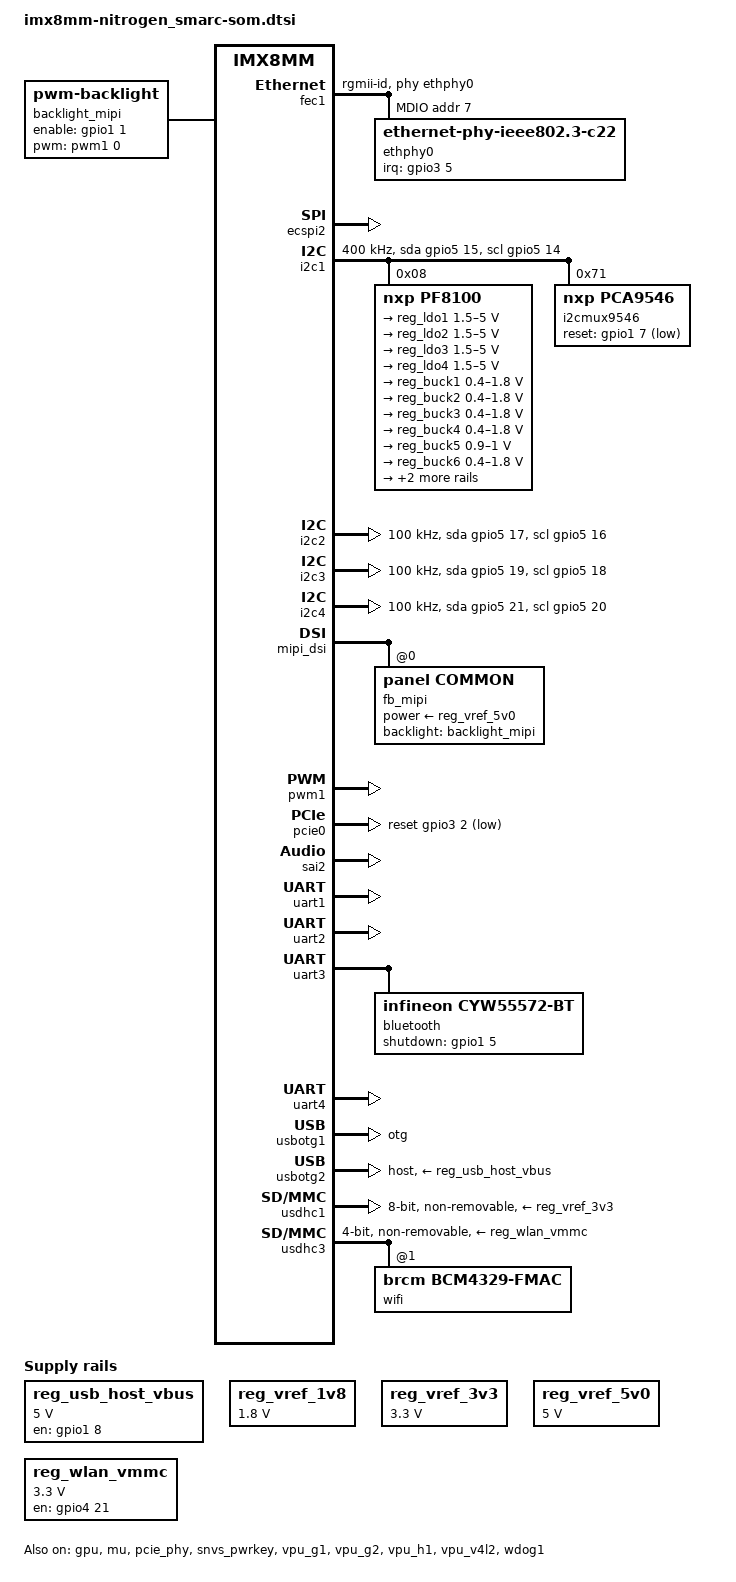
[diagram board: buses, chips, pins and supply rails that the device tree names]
// SPDX-License-Identifier: (GPL-2.0+ OR MIT)
/*
 * Copyright 2023 Boundary Devices
 */

#include <dt-bindings/phy/phy-imx8-pcie.h>
#include <dt-bindings/usb/pd.h>

/ {
	backlight_mipi: backlight-mipi {
		brightness-levels = <0 1 2 3 4 5 6 7 8 9 10>;
		compatible = "pwm-backlight";
		pinctrl-names = "default";
		pinctrl-0 = <&pinctrl_lvds0_backlight>;
		default-brightness-level = <8>;
		display = <&display_subsystem>;
		pwms = <&pwm1 0 32000 0>;
		enable-gpios = <&gpio1 1 GPIO_ACTIVE_HIGH>;
		status = "okay";
	};

	reg_usb_host_vbus: regulator-usb-host-vbus {
		compatible = "regulator-fixed";
		pinctrl-names = "default";
		pinctrl-0 = <&pinctrl_reg_usbhost_vbus>;
		regulator-name = "usb_host_vbus";
		regulator-min-microvolt = <5000000>;
		regulator-max-microvolt = <5000000>;
		gpio = <&gpio1 8 GPIO_ACTIVE_HIGH>;
		enable-active-high;
	};

	reg_vref_1v8: regulator-vref-1v8 {
		compatible = "regulator-fixed";
		regulator-name = "vref-1v8";
		regulator-min-microvolt = <1800000>;
		regulator-max-microvolt = <1800000>;
	};

	reg_vref_3v3: regulator-vref-3v3 {
		compatible = "regulator-fixed";
		regulator-name = "vref-3v3";
		regulator-min-microvolt = <3300000>;
		regulator-max-microvolt = <3300000>;
	};

	reg_vref_5v0: regulator-vref-5v0 {
		compatible = "regulator-fixed";
		regulator-name = "vref-5v0";
		regulator-min-microvolt = <5000000>;
		regulator-max-microvolt = <5000000>;
	};

	reg_wlan_vmmc: regulator-wlan-vmmc {
		compatible = "regulator-fixed";
		pinctrl-names = "default";
		pinctrl-0 = <&pinctrl_reg_wlan_vmmc>;
		regulator-name = "reg_wlan_vmmc";
		regulator-min-microvolt = <3300000>;
		regulator-max-microvolt = <3300000>;
		gpio = <&gpio4 21 GPIO_ACTIVE_HIGH>;
		startup-delay-us = <70000>;
		enable-active-high;
	};

	reserved-memory {
		linux,cma {
			size = <0 0x20000000>;
		};
	};
};

&A53_0 {
	cpu-supply = <&reg_buck3>;
};

&fec1 {
	pinctrl-names = "default";
	pinctrl-0 = <&pinctrl_fec1>;
#if 0
	phy-reset-gpios = <&gpio3 15 GPIO_ACTIVE_LOW>;
#endif
	phy-mode = "rgmii-id";
	phy-handle = <&ethphy0>;
	fsl,magic-packet;
	status = "okay";

	mdio {
		#address-cells = <1>;
		#size-cells = <0>;

		ethphy0: ethernet-phy@7 {
			compatible = "ethernet-phy-ieee802.3-c22";
			interrupts-extended = <&gpio3 5 IRQ_TYPE_LEVEL_LOW>;
			reg = <7>;
			rxc-skew-ps = <3000>;
			rxd0-skew-ps = <0>;
			rxd1-skew-ps = <0>;
			rxd2-skew-ps = <0>;
			rxd3-skew-ps = <0>;
			rxdv-skew-ps = <0>;
			txc-skew-ps = <3000>;
			txd0-skew-ps = <0>;
			txd1-skew-ps = <0>;
			txd2-skew-ps = <0>;
			txd3-skew-ps = <0>;
			txen-skew-ps = <0>;
		};
	};
};

&gpu {
	status = "okay";
};

&ecspi2 {
	#address-cells = <1>;
	#size-cells = <0>;
	pinctrl-names = "default";
	pinctrl-0 = <&pinctrl_ecspi2>;
	cs-gpios = <&gpio5 13 GPIO_ACTIVE_LOW>, <&gpio5 3 GPIO_ACTIVE_LOW>;
	status = "okay";
};

&flexspi {
	#address-cells = <1>;
	#size-cells = <0>;
	pinctrl-names = "default";
	pinctrl-0 = <&pinctrl_flexspi>;
	cs-gpios = <&gpio3 1 GPIO_ACTIVE_LOW>, <&gpio1 6 GPIO_ACTIVE_LOW>;
	status = "disabled";
};

&i2c1 {
	clock-frequency = <400000>;
	pinctrl-names = "default", "gpio";
	pinctrl-0 = <&pinctrl_i2c1>;
	pinctrl-1 = <&pinctrl_i2c1_1>;
	scl-gpios = <&gpio5 14 GPIO_OPEN_DRAIN>;
	sda-gpios = <&gpio5 15 GPIO_OPEN_DRAIN>;
	status = "okay";

	pf8100@8 {
		compatible = "nxp,pf8100";
		pinctrl-names = "default";
		pinctrl-0 = <&pinctrl_i2c1_pf8100>;
		reg = <0x08>;

		regulators {
			reg_ldo1: ldo1 {
				regulator-always-on;
				regulator-boot-on;
				regulator-max-microvolt = <5000000>;
				regulator-min-microvolt = <1500000>;
			};

			reg_ldo2: ldo2 {
				regulator-always-on;
				regulator-boot-on;
				regulator-max-microvolt = <5000000>;
				regulator-min-microvolt = <1500000>;
				/* vselect low is 3.3V, high is 1.8V */
				vselect-en;
			};

			reg_ldo3: ldo3 {
				regulator-boot-on;
				regulator-max-microvolt = <5000000>;
				regulator-min-microvolt = <1500000>;
			};

			reg_ldo4: ldo4 {
				regulator-always-on;
				regulator-boot-on;
				regulator-max-microvolt = <5000000>;
				regulator-min-microvolt = <1500000>;
			};

			reg_buck1: buck1 {
				nxp,phase-shift = <0>;
				regulator-max-microamp = <4500000>;
				regulator-always-on;
				regulator-boot-on;
				regulator-max-microvolt = <1800000>;
				regulator-min-microvolt =  <400000>;
			};

			reg_buck2: buck2 {
				regulator-always-on;
				regulator-boot-on;
				regulator-max-microvolt = <1800000>;
				regulator-min-microvolt =  <400000>;
			};

			reg_buck3: buck3 {
				regulator-always-on;
				regulator-boot-on;
				regulator-max-microvolt = <1800000>;
				regulator-min-microvolt =  <400000>;
				fast-slew = <1>;
			};

			reg_buck4: buck4 {
				regulator-boot-on;
				regulator-max-microvolt = <1800000>;
				regulator-min-microvolt =  <400000>;
				fast-slew = <1>;
			};

			reg_buck5: buck5 {
				regulator-always-on;
				regulator-boot-on;
				regulator-max-microvolt = <1000000>;
				regulator-min-microvolt =  <900000>;
			};

			reg_buck6: buck6 {
				regulator-always-on;
				regulator-boot-on;
				regulator-max-microvolt = <1800000>;
				regulator-min-microvolt =  <400000>;
			};

			reg_buck7: buck7 {
				regulator-always-on;
				regulator-boot-on;
				regulator-max-microvolt = <4100000>;
				regulator-min-microvolt = <1000000>;
			};

			reg_vsnvs: vsnvs {
				regulator-always-on;
				regulator-boot-on;
				regulator-max-microvolt = <3300000>;
				regulator-min-microvolt = <1800000>;
			};
		};
	};

	i2cmux9546@71 {
		pinctrl-names = "default";
		pinctrl-0 = <&pinctrl_i2c1_pca9546>;
		compatible = "nxp,pca9546";
		reg = <0x71>;
		reset-gpios = <&gpio1 7 GPIO_ACTIVE_LOW>;
		#address-cells = <1>;
		#size-cells = <0>;

		i2c1a: i2c1@0 {
			/* I2C_CSI0 */
			clock-frequency = <100000>;
			reg = <0>;
			#address-cells = <1>;
			#size-cells = <0>;
		};

		i2c1b: i2c1@1 {
			/* I2C_LCD */
			clock-frequency = <100000>;
			reg = <1>;
			#address-cells = <1>;
			#size-cells = <0>;
		};

		i2c1c: i2c1@2 {
			clock-frequency = <100000>;
			reg = <2>;
			#address-cells = <1>;
			#size-cells = <0>;
		};
	};
};

/* I2C_CAM1 */
&i2c2 {
	clock-frequency = <100000>;
	pinctrl-names = "default", "gpio";
	pinctrl-0 = <&pinctrl_i2c2>;
	pinctrl-1 = <&pinctrl_i2c2_1>;
	scl-gpios = <&gpio5 16 GPIO_OPEN_DRAIN>;
	sda-gpios = <&gpio5 17 GPIO_OPEN_DRAIN>;
	status = "okay";
};

/* I2C_GP */
&i2c3 {
	clock-frequency = <100000>;
	pinctrl-names = "default", "gpio";
	pinctrl-0 = <&pinctrl_i2c3>;
	pinctrl-1 = <&pinctrl_i2c3_1>;
	scl-gpios = <&gpio5 18 GPIO_OPEN_DRAIN>;
	sda-gpios = <&gpio5 19 GPIO_OPEN_DRAIN>;
	status = "okay";
};

/* I2C_PM */
&i2c4 {
	clock-frequency = <100000>;
	pinctrl-names = "default", "gpio";
	pinctrl-0 = <&pinctrl_i2c4>;
	pinctrl-1 = <&pinctrl_i2c4_1>;
	scl-gpios = <&gpio5 20 GPIO_OPEN_DRAIN>;
	sda-gpios = <&gpio5 21 GPIO_OPEN_DRAIN>;
	status = "okay";
};

&iomuxc {
	pinctrl_ecspi2: ecspi2grp {
		fsl,pins = <
			MX8MM_IOMUXC_SPDIF_TX_GPIO5_IO3		0x140
			MX8MM_IOMUXC_ECSPI2_SS0_GPIO5_IO13	0x140
			MX8MM_IOMUXC_ECSPI2_MISO_ECSPI2_MISO	0x82
			MX8MM_IOMUXC_ECSPI2_SCLK_ECSPI2_SCLK	0x82
			MX8MM_IOMUXC_ECSPI2_MOSI_ECSPI2_MOSI	0x82
		>;
	};

	pinctrl_fec1: fec1grp {
		fsl,pins = <
			MX8MM_IOMUXC_ENET_MDC_ENET1_MDC		0x00
			MX8MM_IOMUXC_ENET_MDIO_ENET1_MDIO	0x00
			MX8MM_IOMUXC_ENET_RD0_ENET1_RGMII_RD0	0x91
			MX8MM_IOMUXC_ENET_RD1_ENET1_RGMII_RD1	0x91
			MX8MM_IOMUXC_ENET_RD2_ENET1_RGMII_RD2	0x91
			MX8MM_IOMUXC_ENET_RD3_ENET1_RGMII_RD3	0x91
			MX8MM_IOMUXC_ENET_RXC_ENET1_RGMII_RXC	0x91
			MX8MM_IOMUXC_ENET_RX_CTL_ENET1_RGMII_RX_CTL	0x91
			MX8MM_IOMUXC_ENET_TD0_ENET1_RGMII_TD0	0x10
			MX8MM_IOMUXC_ENET_TD1_ENET1_RGMII_TD1	0x10
			MX8MM_IOMUXC_ENET_TD2_ENET1_RGMII_TD2	0x10
			MX8MM_IOMUXC_ENET_TD3_ENET1_RGMII_TD3	0x10
			MX8MM_IOMUXC_ENET_TXC_ENET1_RGMII_TXC	0x12
			MX8MM_IOMUXC_ENET_TX_CTL_ENET1_RGMII_TX_CTL	0x10
			MX8MM_IOMUXC_NAND_RE_B_GPIO3_IO15	0x159
			MX8MM_IOMUXC_NAND_CLE_GPIO3_IO5		0x1c0
		>;
	};

	pinctrl_flexspi: flexspigrp {
		fsl,pins = <
			MX8MM_IOMUXC_GPIO1_IO06_GPIO1_IO6	0x140
			MX8MM_IOMUXC_NAND_CE0_B_GPIO3_IO1	0x140
			MX8MM_IOMUXC_NAND_DATA00_QSPI_A_DATA0	0x82
			MX8MM_IOMUXC_NAND_DATA01_QSPI_A_DATA1	0x82
			MX8MM_IOMUXC_NAND_DATA02_QSPI_A_DATA2	0x82
			MX8MM_IOMUXC_NAND_DATA03_QSPI_A_DATA3	0x82
			MX8MM_IOMUXC_NAND_ALE_QSPI_A_SCLK	0x82
			MX8MM_IOMUXC_NAND_DATA02_QSPI_A_DATA2	0x82
		>;
	};

	pinctrl_i2c1: i2c1grp {
		fsl,pins = <
			MX8MM_IOMUXC_I2C1_SCL_I2C1_SCL	0x400001c3
			MX8MM_IOMUXC_I2C1_SDA_I2C1_SDA	0x400001c3
		>;
	};

	pinctrl_i2c1_1: i2c1-1grp {
		fsl,pins = <
			MX8MM_IOMUXC_I2C1_SCL_GPIO5_IO14	0x1c3
			MX8MM_IOMUXC_I2C1_SDA_GPIO5_IO15	0x1c3
		>;
	};

	pinctrl_i2c1_pf8100: i2c1-pf8100grp {
		fsl,pins = <
			MX8MM_IOMUXC_NAND_CE2_B_GPIO3_IO3	0x149
			MX8MM_IOMUXC_NAND_CE3_B_GPIO3_IO4	0x149
		>;
	};

	pinctrl_i2c1_pca9546: i2c1-pca9546grp {
		fsl,pins = <
			MX8MM_IOMUXC_GPIO1_IO07_GPIO1_IO7	0x100
		>;
	};

	pinctrl_i2c2: i2c2grp {
		fsl,pins = <
			MX8MM_IOMUXC_I2C2_SCL_I2C2_SCL		0x400001c3
			MX8MM_IOMUXC_I2C2_SDA_I2C2_SDA		0x400001c3
		>;
	};

	pinctrl_i2c2_1: i2c2-1grp {
		fsl,pins = <
			MX8MM_IOMUXC_I2C2_SCL_GPIO5_IO16	0x400001c3
			MX8MM_IOMUXC_I2C2_SDA_GPIO5_IO17	0x400001c3
		>;
	};

	pinctrl_i2c3: i2c3grp {
		fsl,pins = <
			MX8MM_IOMUXC_I2C3_SCL_I2C3_SCL		0x400001c3
			MX8MM_IOMUXC_I2C3_SDA_I2C3_SDA		0x400001c3
		>;
	};

	pinctrl_i2c3_1: i2c3-1grp {
		fsl,pins = <
			MX8MM_IOMUXC_I2C3_SCL_GPIO5_IO18	0x400001c3
			MX8MM_IOMUXC_I2C3_SDA_GPIO5_IO19	0x400001c3
		>;
	};

	pinctrl_i2c4: i2c4grp {
		fsl,pins = <
			MX8MM_IOMUXC_I2C4_SCL_I2C4_SCL		0x400001c3
			MX8MM_IOMUXC_I2C4_SDA_I2C4_SDA		0x400001c3
		>;
	};

	pinctrl_i2c4_1: i2c4-1grp {
		fsl,pins = <
			MX8MM_IOMUXC_I2C4_SCL_GPIO5_IO20	0x400001c3
			MX8MM_IOMUXC_I2C4_SDA_GPIO5_IO21	0x400001c3
		>;
	};

	pinctrl_lvds0_backlight: pinctrl-lvds0-backlight-grp {
		fsl,pins = <
			MX8MM_IOMUXC_GPIO1_IO01_GPIO1_IO1	0x140
		>;
	};

	pinctrl_mipi_sn65dsi83_alt: mipi-sn65dsi83-altgrp {
		fsl,pins = <
			MX8MM_IOMUXC_SAI5_RXC_GPIO3_IO20	0x180
			MX8MM_IOMUXC_SAI5_MCLK_GPIO3_IO25	0x100
		>;
	};

	pinctrl_pcie0: pcie0grp {
		fsl,pins = <
			MX8MM_IOMUXC_NAND_CE1_B_GPIO3_IO2	0x100
			MX8MM_IOMUXC_SAI1_MCLK_GPIO4_IO20	0x140
			MX8MM_IOMUXC_SAI3_RXC_GPIO4_IO29	0x140
		>;
	};

	pinctrl_pwm1: pwm1grp {
		fsl,pins = <
			MX8MM_IOMUXC_SPDIF_EXT_CLK_PWM1_OUT	0x16
		>;
	};

	pinctrl_reg_usbhost_vbus: usbhost-vbusgrp {
		fsl,pins = <
			MX8MM_IOMUXC_GPIO1_IO08_GPIO1_IO8	0x140
		>;
	};

	pinctrl_reg_wlan_vmmc: reg-wlan-vmmcgrp {
		fsl,pins = <
			MX8MM_IOMUXC_SAI2_RXFS_GPIO4_IO21	0x100
			/* Bluetooth slow clock */
			MX8MM_IOMUXC_GPIO1_IO00_ANAMIX_REF_CLK_32K	0x03
		>;
	};

	pinctrl_sai1: sai1grp {
		fsl,pins = <
			MX8MM_IOMUXC_SAI1_TXFS_SAI1_TX_SYNC	0xd6
			MX8MM_IOMUXC_SAI1_TXC_SAI1_TX_BCLK	0xd6
			MX8MM_IOMUXC_SAI1_TXD0_SAI1_TX_DATA0	0xd6
			MX8MM_IOMUXC_SAI1_RXD0_SAI1_RX_DATA0	0xd6
		>;
	};

	pinctrl_sai2: sai2grp {
		fsl,pins = <
			MX8MM_IOMUXC_SAI2_MCLK_SAI2_MCLK	0xd6
			MX8MM_IOMUXC_SAI2_TXFS_SAI2_TX_SYNC	0xd6
			MX8MM_IOMUXC_SAI2_TXC_SAI2_TX_BCLK	0xd6
			MX8MM_IOMUXC_SAI2_TXD0_SAI2_TX_DATA0	0xd6
			MX8MM_IOMUXC_SAI2_RXD0_SAI2_RX_DATA0	0xd6
		>;
	};

	pinctrl_sai3: sai3grp {
		fsl,pins = <
			MX8MM_IOMUXC_SAI3_TXFS_SAI3_TX_SYNC	0xd6
			MX8MM_IOMUXC_SAI3_TXC_SAI3_TX_BCLK	0xd6
			MX8MM_IOMUXC_SAI3_TXD_SAI3_TX_DATA0	0xd6
			MX8MM_IOMUXC_SAI3_RXD_SAI3_RX_DATA0	0xd6
		>;
	};

	pinctrl_uart1: uart1grp {
		fsl,pins = <
			MX8MM_IOMUXC_UART1_RXD_UART1_DCE_RX	0x140
			MX8MM_IOMUXC_UART1_TXD_UART1_DCE_TX	0x140
			MX8MM_IOMUXC_UART3_RXD_UART1_DCE_CTS_B	0x140
			MX8MM_IOMUXC_UART3_TXD_UART1_DCE_RTS_B	0x140
		>;
	};

	pinctrl_uart2: uart2grp {
		fsl,pins = <
			MX8MM_IOMUXC_UART2_RXD_UART2_DCE_RX	0x140
			MX8MM_IOMUXC_UART2_TXD_UART2_DCE_TX	0x140
		>;
	};

	pinctrl_uart3: uart3grp {
		fsl,pins = <
			MX8MM_IOMUXC_ECSPI1_SCLK_UART3_DCE_RX	0x140
			MX8MM_IOMUXC_ECSPI1_MOSI_UART3_DCE_TX	0x140
			MX8MM_IOMUXC_ECSPI1_SS0_UART3_DCE_RTS_B	0x140
			MX8MM_IOMUXC_ECSPI1_MISO_UART3_DCE_CTS_B	0x140
			MX8MM_IOMUXC_GPIO1_IO05_GPIO1_IO5	0x100
			MX8MM_IOMUXC_NAND_DQS_GPIO3_IO14	0x1c0
		>;
	};

	pinctrl_uart4: uart4grp {
		fsl,pins = <
			MX8MM_IOMUXC_UART4_RXD_UART4_DCE_RX	0x140
			MX8MM_IOMUXC_UART4_TXD_UART4_DCE_TX	0x140
		>;
	};

	pinctrl_usdhc1: usdhc1grp {
		fsl,pins = <
			MX8MM_IOMUXC_SD1_CLK_USDHC1_CLK		0x10
			MX8MM_IOMUXC_SD1_CMD_USDHC1_CMD		0x150
			MX8MM_IOMUXC_SD1_DATA0_USDHC1_DATA0	0x150
			MX8MM_IOMUXC_SD1_DATA1_USDHC1_DATA1	0x150
			MX8MM_IOMUXC_SD1_DATA2_USDHC1_DATA2	0x150
			MX8MM_IOMUXC_SD1_DATA3_USDHC1_DATA3	0x150
			MX8MM_IOMUXC_SD1_DATA4_USDHC1_DATA4	0x150
			MX8MM_IOMUXC_SD1_DATA5_USDHC1_DATA5	0x150
			MX8MM_IOMUXC_SD1_DATA6_USDHC1_DATA6	0x150
			MX8MM_IOMUXC_SD1_DATA7_USDHC1_DATA7	0x150
			MX8MM_IOMUXC_SD1_STROBE_USDHC1_STROBE	0x10
			MX8MM_IOMUXC_SD1_RESET_B_GPIO2_IO10	0x140
		>;
	};

	pinctrl_usdhc1_100mhz: usdhc1-100mhzgrp {
		fsl,pins = <
			MX8MM_IOMUXC_SD1_CLK_USDHC1_CLK		0x14
			MX8MM_IOMUXC_SD1_CMD_USDHC1_CMD		0x154
			MX8MM_IOMUXC_SD1_DATA0_USDHC1_DATA0	0x154
			MX8MM_IOMUXC_SD1_DATA1_USDHC1_DATA1	0x154
			MX8MM_IOMUXC_SD1_DATA2_USDHC1_DATA2	0x154
			MX8MM_IOMUXC_SD1_DATA3_USDHC1_DATA3	0x154
			MX8MM_IOMUXC_SD1_DATA4_USDHC1_DATA4	0x154
			MX8MM_IOMUXC_SD1_DATA5_USDHC1_DATA5	0x154
			MX8MM_IOMUXC_SD1_DATA6_USDHC1_DATA6	0x154
			MX8MM_IOMUXC_SD1_DATA7_USDHC1_DATA7	0x154
			MX8MM_IOMUXC_SD1_STROBE_USDHC1_STROBE	0x14
		>;
	};

	pinctrl_usdhc1_200mhz: usdhc1-200mhzgrp {
		fsl,pins = <
			MX8MM_IOMUXC_SD1_CLK_USDHC1_CLK		0x12
			MX8MM_IOMUXC_SD1_CMD_USDHC1_CMD		0x152
			MX8MM_IOMUXC_SD1_DATA0_USDHC1_DATA0	0x152
			MX8MM_IOMUXC_SD1_DATA1_USDHC1_DATA1	0x152
			MX8MM_IOMUXC_SD1_DATA2_USDHC1_DATA2	0x152
			MX8MM_IOMUXC_SD1_DATA3_USDHC1_DATA3	0x152
			MX8MM_IOMUXC_SD1_DATA4_USDHC1_DATA4	0x152
			MX8MM_IOMUXC_SD1_DATA5_USDHC1_DATA5	0x152
			MX8MM_IOMUXC_SD1_DATA6_USDHC1_DATA6	0x152
			MX8MM_IOMUXC_SD1_DATA7_USDHC1_DATA7	0x152
			MX8MM_IOMUXC_SD1_STROBE_USDHC1_STROBE	0x12
		>;
	};

	pinctrl_usdhc3: usdhc3grp {
		fsl,pins = <
			MX8MM_IOMUXC_NAND_WE_B_USDHC3_CLK	0x10
			MX8MM_IOMUXC_NAND_WP_B_USDHC3_CMD	0x150
			MX8MM_IOMUXC_NAND_DATA04_USDHC3_DATA0	0x150
			MX8MM_IOMUXC_NAND_DATA05_USDHC3_DATA1	0x150
			MX8MM_IOMUXC_NAND_DATA06_USDHC3_DATA2	0x150
			MX8MM_IOMUXC_NAND_DATA07_USDHC3_DATA3	0x150
			MX8MM_IOMUXC_NAND_READY_B_SD3_RESET_B	0x150
			MX8MM_IOMUXC_GPIO1_IO12_GPIO1_IO12	0x1c0
		>;
	};

	pinctrl_usdhc3_100mhz: usdhc3-100mhzgrp {
		fsl,pins = <
			MX8MM_IOMUXC_NAND_WE_B_USDHC3_CLK	0x14
			MX8MM_IOMUXC_NAND_WP_B_USDHC3_CMD	0x154
			MX8MM_IOMUXC_NAND_DATA04_USDHC3_DATA0	0x154
			MX8MM_IOMUXC_NAND_DATA05_USDHC3_DATA1	0x154
			MX8MM_IOMUXC_NAND_DATA06_USDHC3_DATA2	0x154
			MX8MM_IOMUXC_NAND_DATA07_USDHC3_DATA3	0x154
		>;
	};

	pinctrl_usdhc3_200mhz: usdhc3-200mhzgrp {
		fsl,pins = <
			MX8MM_IOMUXC_NAND_WE_B_USDHC3_CLK	0x12
			MX8MM_IOMUXC_NAND_WP_B_USDHC3_CMD	0x152
			MX8MM_IOMUXC_NAND_DATA04_USDHC3_DATA0	0x152
			MX8MM_IOMUXC_NAND_DATA05_USDHC3_DATA1	0x152
			MX8MM_IOMUXC_NAND_DATA06_USDHC3_DATA2	0x152
			MX8MM_IOMUXC_NAND_DATA07_USDHC3_DATA3	0x152
		>;
	};

	pinctrl_wdog: wdoggrp {
		fsl,pins = <
			MX8MM_IOMUXC_GPIO1_IO02_WDOG1_WDOG_B	0x140
		>;
	};
};

&mipi_dsi {
	fb_mipi: panel@0 {
		backlight = <&backlight_mipi>;
		bits-per-color = <8>;
		bridge-de-active = <0>;
		bus-format = "rgb888";
		clocks = <&mipi_dsi 0>,
			<&clk IMX8MM_CLK_LCDIF_PIXEL>;
		clock-names = "mipi_clk", "pixel_clock";
		compatible = "panel,common";
		dsi-format = "rgb888";
		dsi-lanes = <4>;
		mode-skip-eot;
		mode-video;
		mode-video-burst;
		panel-height-mm = <136>;
		panel-width-mm = <217>;
		pinctrl-names = "sn65dsi83";
		pinctrl-0 = <&pinctrl_mipi_sn65dsi83_alt>;
		power-supply = <&reg_vref_5v0>;
		reg = <0>;
		sn65dsi83 = <&mipi_to_lvds_alt>;
		spwg;

		display-timings {
			t_mipi: t-dsi-default {
				/* m101nwwb by default */
				clock-frequency = <66000000>;
				hactive = <1280>;
				vactive = <800>;
				hback-porch = <5>;
				hfront-porch = <123>;
				vback-porch = <3>;
				vfront-porch = <24>;
				hsync-len = <1>;
				vsync-len = <1>;
				hsync-active = <0>;
				vsync-active = <0>;
				de-active = <1>;
			};
		};

		mipi_to_lvds_alt: mipi-to-lvds-altgrp {
			alias = <&mipi_to_lvds_alt>;
			enable-gpios = <&gpio3 25 GPIO_ACTIVE_HIGH>;
			i2c-address = <0x2c>;
			i2c-bus = <&i2c1c>;
			interrupts-extended = <&gpio3 20 IRQ_TYPE_LEVEL_HIGH>;
			status = "okay";
		};
	};
};

&mu {
	status = "okay";
};

&pwm1 {
	pinctrl-names = "default";
	pinctrl-0 = <&pinctrl_pwm1>;
	status = "okay";
};

&pcie0 {
	assigned-clocks = <&clk IMX8MM_CLK_PCIE1_AUX>,
			  <&clk IMX8MM_CLK_PCIE1_CTRL>;
	assigned-clock-parents = <&clk IMX8MM_SYS_PLL2_50M>,
				 <&clk IMX8MM_SYS_PLL2_250M>;
	assigned-clock-rates = <10000000>, <250000000>;
	clocks = <&clk IMX8MM_CLK_PCIE1_ROOT>,
		 <&clk IMX8MM_CLK_PCIE1_AUX>,
		 <&clk IMX8MM_CLK_PCIE1_PHY>;
	clock-names = "pcie", "pcie_aux", "pcie_bus";
	pinctrl-names = "default";
	pinctrl-0 = <&pinctrl_pcie0>;
	reset-gpio = <&gpio3 2 GPIO_ACTIVE_LOW>;
	status = "okay";
};

&pcie_phy {
	clocks = <&clk IMX8MM_CLK_PCIE1_PHY>;
	clock-names = "ref";
	fsl,clkreq-unsupported;
	fsl,refclk-pad-mode = <IMX8_PCIE_REFCLK_PAD_OUTPUT>;
	fsl,tx-deemph-gen1 = <0x2d>;
	fsl,tx-deemph-gen2 = <0xf>;
	status = "okay";
};

/* I2S1 */
&sai1 {
	pinctrl-names = "default";
	pinctrl-0 = <&pinctrl_sai1>;
	status = "disabled";
};

/* I2S0 */
&sai2 {
	pinctrl-names = "default";
	pinctrl-0 = <&pinctrl_sai2>;
	status = "okay";
};

/* BT PCM */
&sai3 {
	pinctrl-names = "default";
	pinctrl-0 = <&pinctrl_sai3>;
	status = "disabled";
};

&snvs_pwrkey {
	status = "okay";
};

&uart1 {
	assigned-clocks = <&clk IMX8MM_CLK_UART1>;
	assigned-clock-parents = <&clk IMX8MM_SYS_PLL1_80M>;
	pinctrl-names = "default";
	pinctrl-0 = <&pinctrl_uart1>;
	uart-has-rtscts;
	status = "okay";
};

&uart2 { /* console */
	assigned-clocks = <&clk IMX8MM_CLK_UART2>;
	assigned-clock-parents = <&clk IMX8MM_CLK_24M>;
	pinctrl-names = "default";
	pinctrl-0 = <&pinctrl_uart2>;
	status = "okay";
};

&uart3 { /* BT */
	pinctrl-names = "default";
	pinctrl-0 = <&pinctrl_uart3>;
	assigned-clocks = <&clk IMX8MM_CLK_UART3>;
	assigned-clock-parents = <&clk IMX8MM_SYS_PLL1_80M>;
	uart-has-rtscts;
	status = "okay";

	bluetooth {
		compatible = "infineon,cyw55572-bt";
		brcm,requires-autobaud-mode;
		max-speed = <921600>;
		shutdown-gpios = <&gpio1 5 GPIO_ACTIVE_HIGH>;
	};
};

&uart4 {
	assigned-clocks = <&clk IMX8MM_CLK_UART4>;
	assigned-clock-parents = <&clk IMX8MM_SYS_PLL1_80M>;
	pinctrl-names = "default";
	pinctrl-0 = <&pinctrl_uart4>;
	status = "okay";
};

&usbotg1 {
	dr_mode = "otg";
	disable-over-current;
	power-active-high;
	status = "okay";
};

&usbotg2 {
	dr_mode = "host";
	disable-over-current;
	power-active-high;
	vbus-supply = <&reg_usb_host_vbus>;
	status = "okay";
};

&usdhc1 {
	bus-width = <8>;
	mmc-hs400-1_8v;
	mmc-hs400-enhanced-strobe;
	no-sd;
	no-sdio;
	non-removable;
	pinctrl-names = "default", "state_100mhz", "state_200mhz";
	pinctrl-0 = <&pinctrl_usdhc1>;
	pinctrl-1 = <&pinctrl_usdhc1_100mhz>;
	pinctrl-2 = <&pinctrl_usdhc1_200mhz>;
	status = "okay";
	vmmc-supply = <&reg_vref_3v3>;
	vqmmc-1-8-v;
	vqmmc-supply = <&reg_vref_1v8>;
};

&usdhc3 {
	bus-width = <4>;
	fsl,sdio-async-interrupt-enabled;
	keep-power-in-suspend;
	non-removable;
	pinctrl-names = "default", "state_100mhz", "state_200mhz";
	pinctrl-0 = <&pinctrl_usdhc3>;
	pinctrl-1 = <&pinctrl_usdhc3_100mhz>;
	pinctrl-2 = <&pinctrl_usdhc3_200mhz>;
	pm-ignore-notify;
	status = "okay";
	vmmc-supply = <&reg_wlan_vmmc>;
	vqmmc-1-8-v;
	vqmmc-supply = <&reg_vref_1v8>;
	#address-cells = <1>;
	#size-cells = <0>;

	wifi@1 {
		reg = <1>;
		compatible = "brcm,bcm4329-fmac";
		laird,regdomain = "US";
	};
};

&vpu_g1 {
	status = "okay";
};

&vpu_g2 {
	status = "okay";
};

&vpu_h1 {
	status = "okay";
};

&vpu_v4l2 {
	status = "okay";
};

&wdog1 {
	pinctrl-names = "default";
	pinctrl-0 = <&pinctrl_wdog>;
	fsl,ext-reset-output;
	status = "okay";
};
